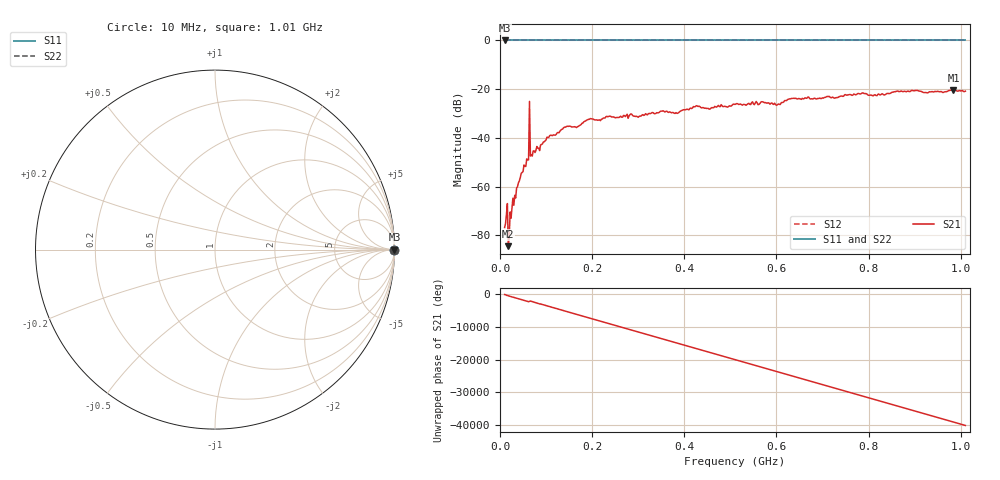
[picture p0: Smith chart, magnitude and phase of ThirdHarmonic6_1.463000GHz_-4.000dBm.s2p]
! 8/16/2025 5:00:55 PM
! C:\ANRITSUVNA\TEMP\TEMP.S2P
! CHANNEL.1
! TR.MEASUREMENT
! RAW.DATA
! RF.CORRECTION.OFF
! AVERAGING.OFF
! IF.BANDWIDTH: 5KHZ
! SWEEPTYPE:  FREQ.SWEEP(Linear)
! Reference Plane Port Info
! PORT:  PORT1  PORT2
! DISTANCE:  0  m  0  m
! TIME:  0  s  0  s
! PHASE.OFFSET:  0  deg.  0  deg.
! LOSS:  0  dB  0  dB
! REF.LOSS:  0  dB  0  dB
! REF.FREQ:  0  Hz  0  Hz
! Power Info
! POWER:  -20  dBm  -20  dBm
! EFF.POWER:  -20  dBm  -20  dBm
! SOURCE.ATTEN:  0  dB  0  dB
! TEST.ATTEN:  0  dB  0  dB
# GHZ S RI R 50.0
! FREQ.GHZ  S11RE  S11IM  S21RE  S21IM  S12RE  S12IM  S22RE  S22IM
!; PortSelection: Port_12
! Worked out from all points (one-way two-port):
!   501 points, 10 MHz to 1.01 GHz, reference 50 ohm
!   highest |S21| = -20.41 dB at 984 MHz (marker M1); lowest = -84.4 dB at 18 MHz (marker M2)
!   lowest |S11| = 0.0 dB at 10 MHz (marker M3)
!   |S11| at or under -10 dB: nowhere
!   |S22| runs from 0.0 to 0.0 dB; largest |S21 - S12| = 1.1
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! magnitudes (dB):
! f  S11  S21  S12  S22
! 10 MHz  0.0  -76.8  0.0  0.0
! 12 MHz  0.0  -75.2  0.0  0.0
! 18 MHz  0.0  -84.4  0.0  0.0
! 22 MHz  0.0  -70.4  0.0  0.0
! 26 MHz  0.0  -69.0  0.0  0.0
! 40 MHz  0.0  -58.4  0.0  0.0
! 58 MHz  0.0  -48.6  0.0  0.0
! 60 MHz  0.0  -49.0  0.0  0.0
! 62 MHz  0.0  -49.0  0.0  0.0
! 68 MHz  0.0  -46.9  0.0  0.0
! 70 MHz  0.0  -47.5  0.0  0.0
! 106 MHz  0.0  -39.7  0.0  0.0
! 178 MHz  0.0  -34.0  0.0  0.0
! 196 MHz  0.0  -32.1  0.0  0.0
! 344 MHz  0.0  -29.7  0.0  0.0
! 510 MHz  0.0  -26.2  0.0  0.0
! 604 MHz  0.0  -26.1  0.0  0.0
! 632 MHz  0.0  -23.8  0.0  0.0
! 678 MHz  0.0  -24.0  0.0  0.0
! 844 MHz  0.0  -21.8  0.0  0.0
! 984 MHz  0.0  -20.4  0.0  0.0
! 1.01 GHz  0.0  -20.8  0.0  0.0
